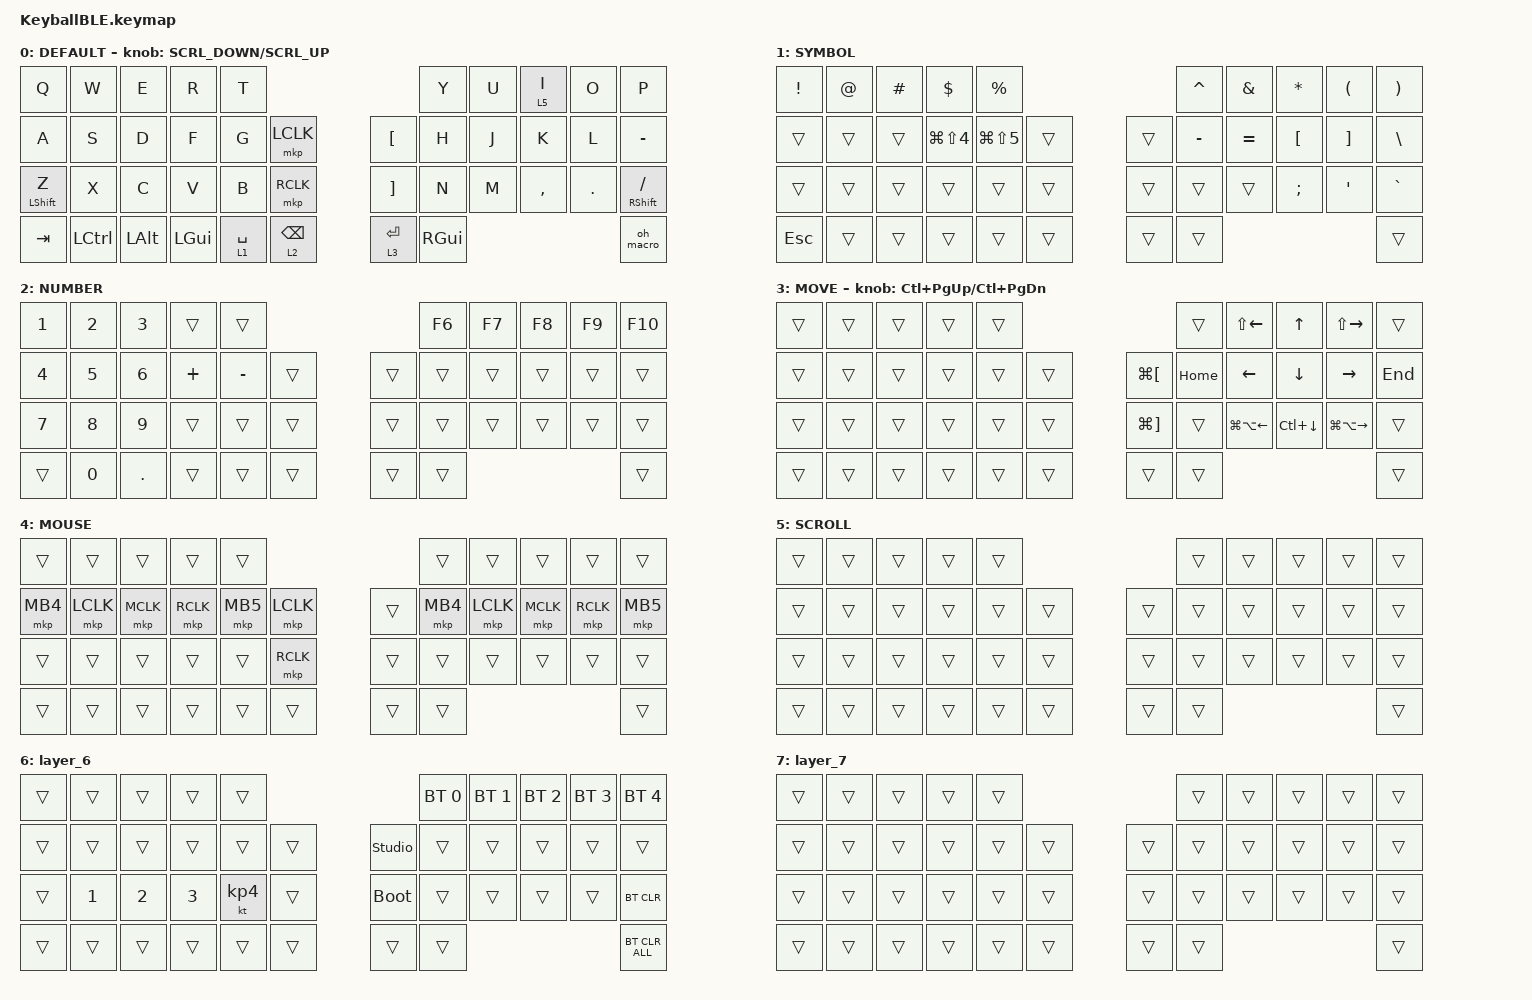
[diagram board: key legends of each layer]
#define ZMK_POINTING_DEFAULT_SCRL_VAL 120    // default: 10

#include <behaviors.dtsi>
#include <dt-bindings/zmk/bt.h>
#include <dt-bindings/zmk/keys.h>
#include <dt-bindings/zmk/pointing.h>

#define MOUSE 4
#define SCROLL 5
#define NUM 6

&mt {
    flavor = "balanced";
    quick-tap-ms = <0>;
};

/ {
    combos {
        compatible = "zmk,combos";

        double_quotation {
            bindings = <&kp DOUBLE_QUOTES>;
            key-positions = <20 21>;
        };
    };

    macros {
        to_layer_0: to_layer_0 {
            compatible = "zmk,behavior-macro-one-param";
            #binding-cells = <1>;
            bindings = <&to 0 &macro_param_1to1 &kp MACRO_PLACEHOLDER>;
            label = "TO_LAYER_0";
        };

        oh_macro: oh_macro {
            compatible = "zmk,behavior-macro";
            #binding-cells = <0>;
            bindings = <&macro_wait_time 30>, <&kp LS(O) &kp H &kp EXCL>;

            label = "OH_MACRO";
        };
    };

    behaviors {
        lt_to_layer_0: lt_to_layer_0 {
            compatible = "zmk,behavior-hold-tap";
            label = "LAYER_TAP_TO_0";
            bindings = <&mo>, <&to_layer_0>;

            #binding-cells = <2>;
            tapping-term-ms = <200>;
        };

        ROTATE: ROTATE {
            compatible = "zmk,behavior-sensor-rotate-var";
            label = "ROTATE";
            #sensor-binding-cells = <2>;
            bindings = <&msc>, <&msc>;

            tap-ms = <20>;
        };
    };

    keymap {
        compatible = "zmk,keymap";

        DEFAULT {
            bindings = <
&kp Q             &kp W      &kp E         &kp R     &kp T                                                &kp Y     &kp U  &lt 5 I    &kp O    &kp P
&kp A             &kp S      &kp D         &kp F     &kp G        &mkp LCLK            &kp LEFT_BRACKET   &kp H     &kp J  &kp K      &kp L    &kp MINUS
&mt LEFT_SHIFT Z  &kp X      &kp C         &kp V     &kp B        &mkp RCLK            &kp RIGHT_BRACKET  &kp N     &kp M  &kp COMMA  &kp DOT  &mt RIGHT_SHIFT SLASH
&kp TAB           &kp LCTRL  &kp LEFT_ALT  &kp LGUI  &lt 1 SPACE  &lt 2 BACKSPACE      &lt 3 ENTER        &kp RGUI                             &oh_macro
            >;

            sensor-bindings = <&ROTATE SCRL_DOWN SCRL_UP>;
        };

        SYMBOL {
            bindings = <
&kp EXCLAMATION  &kp AT_SIGN  &kp HASH  &kp DOLLAR            &kp PERCENT                               &kp CARET  &kp AMPERSAND  &kp ASTERISK      &kp LEFT_PARENTHESIS  &kp RIGHT_PARENTHESIS
&trans           &trans       &trans    &kp LG(LS(NUMBER_4))  &kp LG(LS(NUMBER_5))  &trans      &trans  &kp MINUS  &kp EQUAL      &kp LEFT_BRACKET  &kp RIGHT_BRACKET     &kp BACKSLASH
&trans           &trans       &trans    &trans                &trans                &trans      &trans  &trans     &trans         &kp SEMICOLON     &kp SINGLE_QUOTE      &kp GRAVE
&kp ESCAPE       &trans       &trans    &trans                &trans                &trans      &trans  &trans                                                            &trans
            >;
        };

        NUMBER {
            bindings = <
&kp NUMBER_1  &kp NUMBER_2  &kp NUMBER_3  &trans    &trans                         &kp F6  &kp F7  &kp F8  &kp F9  &kp F10
&kp NUMBER_4  &kp NUMBER_5  &kp NUMBER_6  &kp PLUS  &kp MINUS  &trans      &trans  &trans  &trans  &trans  &trans  &trans
&kp NUMBER_7  &kp NUMBER_8  &kp NUMBER_9  &trans    &trans     &trans      &trans  &trans  &trans  &trans  &trans  &trans
&trans        &kp NUMBER_0  &kp PERIOD    &trans    &trans     &trans      &trans  &trans                          &trans
            >;
        };

        MOVE {
            bindings = <
&trans  &trans  &trans  &trans  &trans                                     &trans    &kp LS(LEFT)            &kp UP_ARROW    &kp LS(RIGHT_ARROW)      &trans
&trans  &trans  &trans  &trans  &trans  &trans      &kp LG(LEFT_BRACKET)   &kp HOME  &kp LEFT_ARROW          &kp DOWN_ARROW  &kp RIGHT_ARROW          &kp END
&trans  &trans  &trans  &trans  &trans  &trans      &kp LG(RIGHT_BRACKET)  &trans    &kp LG(LA(LEFT_ARROW))  &kp LC(DOWN)    &kp LG(LA(RIGHT_ARROW))  &trans
&trans  &trans  &trans  &trans  &trans  &trans      &trans                 &trans                                                                     &trans
            >;

            sensor-bindings = <&inc_dec_kp LC(PAGE_UP) LC(PAGE_DOWN)>;
        };

        MOUSE {
            bindings = <
&trans    &trans     &trans     &trans     &trans                           &trans    &trans     &trans     &trans     &trans
&mkp MB4  &mkp LCLK  &mkp MCLK  &mkp RCLK  &mkp MB5  &mkp LCLK      &trans  &mkp MB4  &mkp LCLK  &mkp MCLK  &mkp RCLK  &mkp MB5
&trans    &trans     &trans     &trans     &trans    &mkp RCLK      &trans  &trans    &trans     &trans     &trans     &trans
&trans    &trans     &trans     &trans     &trans    &trans         &trans  &trans                                     &trans
            >;
        };

        SCROLL {
            bindings = <
&trans  &trans  &trans  &trans  &trans                      &trans  &trans  &trans  &trans  &trans
&trans  &trans  &trans  &trans  &trans  &trans      &trans  &trans  &trans  &trans  &trans  &trans
&trans  &trans  &trans  &trans  &trans  &trans      &trans  &trans  &trans  &trans  &trans  &trans
&trans  &trans  &trans  &trans  &trans  &trans      &trans  &trans                          &trans
            >;
        };

        layer_6 {
            bindings = <
&trans  &trans        &trans        &trans        &trans                                 &bt BT_SEL 0  &bt BT_SEL 1  &bt BT_SEL 2  &bt BT_SEL 3  &bt BT_SEL 4
&trans  &trans        &trans        &trans        &trans     &trans      &studio_unlock  &trans        &trans        &trans        &trans        &trans
&trans  &kp NUMBER_1  &kp NUMBER_2  &kp NUMBER_3  &kt KP_N4  &trans      &bootloader     &trans        &trans        &trans        &trans        &bt BT_CLR
&trans  &trans        &trans        &trans        &trans     &trans      &trans          &trans                                                  &bt BT_CLR_ALL
            >;
        };

        layer_7 {
            bindings = <
&trans  &trans  &trans  &trans  &trans                      &trans  &trans  &trans  &trans  &trans
&trans  &trans  &trans  &trans  &trans  &trans      &trans  &trans  &trans  &trans  &trans  &trans
&trans  &trans  &trans  &trans  &trans  &trans      &trans  &trans  &trans  &trans  &trans  &trans
&trans  &trans  &trans  &trans  &trans  &trans      &trans  &trans                          &trans
            >;
        };
    };
};
